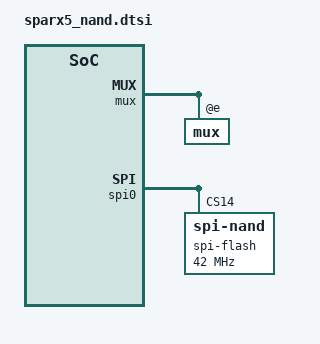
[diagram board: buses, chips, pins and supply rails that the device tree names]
// SPDX-License-Identifier: (GPL-2.0+ OR MIT)
/*
 * Copyright (c) 2020 Microchip Technology Inc. and its subsidiaries.
 */

&gpio {
	cs14_pins: cs14-pins {
		pins = "GPIO_44";
		function = "si";
	};
};

&mux {
	/* CS14 (NAND) is on SPI2 */
	mux@e {
		reg = <14>;
		microchip,bus-interface = <1>;
	};
};

&spi0 {
	pinctrl-0 = <&si2_pins>;
	pinctrl-names = "default";
	spi-flash@e {
		compatible = "spi-nand";
		pinctrl-0 = <&cs14_pins>;
		pinctrl-names = "default";
		spi-max-frequency = <42000000>;
		reg = <14>;
		rx-sample-delay-ns = <7>;  /* Tune for speed */
	};
};
